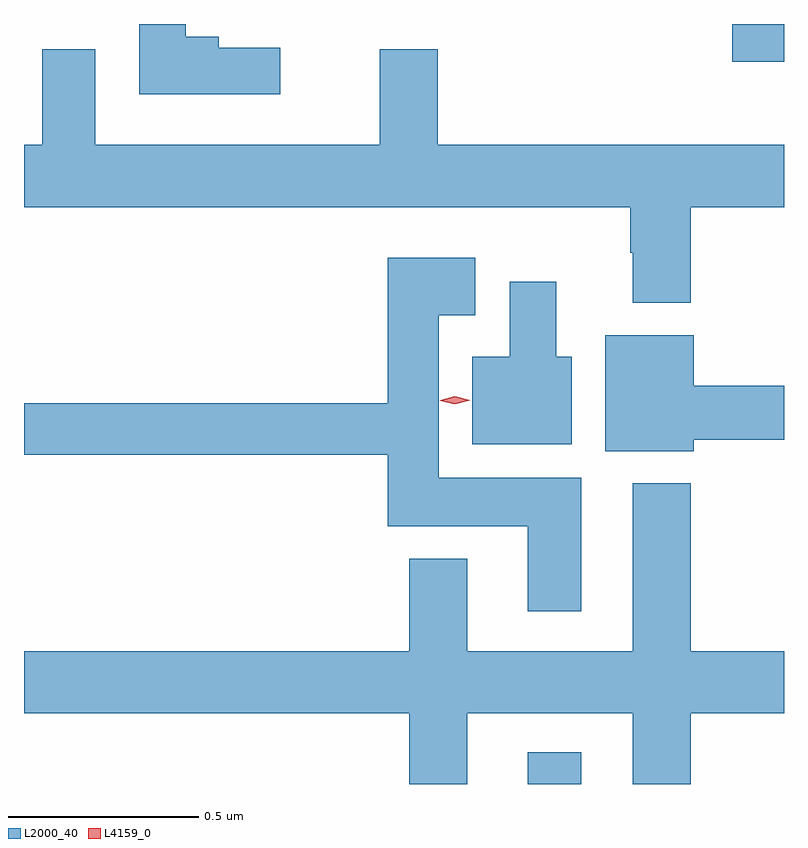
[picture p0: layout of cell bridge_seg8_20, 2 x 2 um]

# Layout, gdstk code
import gdstk
lib = gdstk.Library(unit=1e-6, precision=1e-09)
def R(c, l, rs):  # rectangles x0, y0, x1, y1
    for r in rs: c.add(gdstk.rectangle(r[:2], r[2:], *l))
def P(c, l, *ps):  # polygons
    for p in ps: c.add(gdstk.Polygon(p, *l))
L2000_40 = (2000, 40)
L4159_0 = (4159, 0)

bridge_seg8_20 = lib.new_cell('bridge_seg8_20')
R(bridge_seg8_20, L2000_40, [(901.205,1161.602,901.345,1161.685), (901.743,1163.503,901.879,1163.601)])
P(bridge_seg8_20, L2000_40, [(900.553,1163.539),(900.391,1163.539),(900.391,1163.569),(900.304,1163.569),(900.304,1163.602),(900.182,1163.602),(900.182,1163.417),(900.553,1163.417)],
  [(901.634,1163.12),(901.879,1163.12),(901.879,1163.284),(900.968,1163.284),(900.968,1163.536),(900.815,1163.536),(900.815,1163.284),(900.067,1163.284),(900.067,1163.536),(899.927,1163.536),(899.927,1163.284),(899.879,1163.284),(899.879,1163.12),(901.474,1163.12),(901.474,1163),(901.481,1163),(901.481,1162.868),(901.634,1162.868)],
  [(901.345,1162.408),(900.97,1162.408),(900.97,1162.835),(901.066,1162.835),(901.066,1162.987),(900.836,1162.987),(900.836,1162.604),(899.879,1162.604),(899.879,1162.468),(900.836,1162.468),(900.836,1162.28),(901.205,1162.28),(901.205,1162.056),(901.345,1162.056)],
  [(901.321,1162.726),(901.279,1162.726),(901.279,1162.924),(901.157,1162.924),(901.157,1162.726),(901.058,1162.726),(901.058,1162.496),(901.321,1162.496)],
  [(901.642,1162.508),(901.879,1162.508),(901.879,1162.65),(901.642,1162.65),(901.642,1162.783),(901.409,1162.783),(901.409,1162.478),(901.642,1162.478)],
  [(901.045,1161.788),(901.481,1161.788),(901.481,1161.602),(901.634,1161.602),(901.634,1161.788),(901.879,1161.788),(901.879,1161.952),(901.634,1161.952),(901.634,1162.393),(901.481,1162.393),(901.481,1161.952),(901.045,1161.952),(901.045,1162.195),(900.893,1162.195),(900.893,1161.952),(899.879,1161.952),(899.879,1161.788),(900.893,1161.788),(900.893,1161.602),(901.045,1161.602)])
P(bridge_seg8_20, L4159_0, [(901.013,1162.602),(900.974,1162.611),(900.974,1162.611),(900.974,1162.612),(901.013,1162.622),(901.053,1162.612),(901.053,1162.612),(901.053,1162.612)])

lib.write_gds('bridge_seg8_20.gds')
